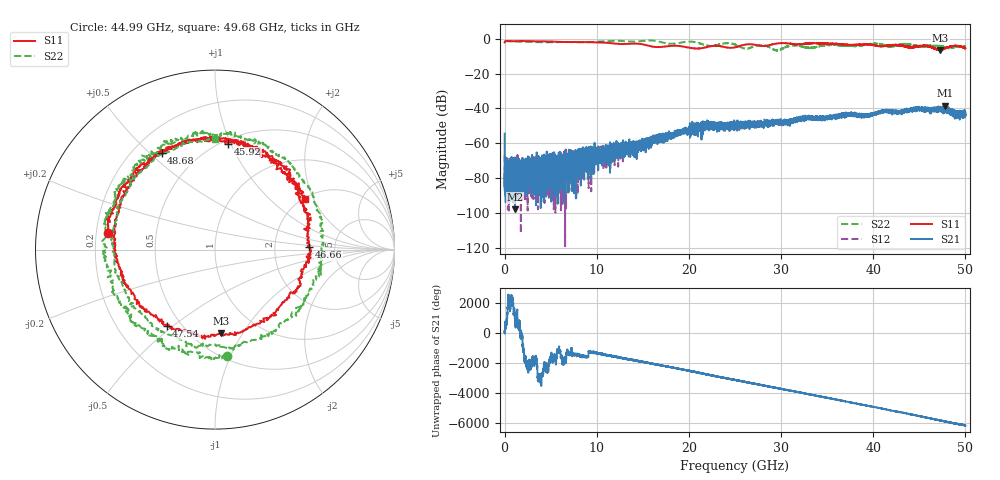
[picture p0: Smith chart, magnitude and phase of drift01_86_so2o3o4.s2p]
!Created with skrf (http://scikit-rf.org).
# Hz S RI R 50.0
!freq ReS11 ImS11 ReS21 ImS21 ReS12 ImS12 ReS22 ImS22
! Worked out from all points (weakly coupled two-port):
!   10001 points, 300 kHz to 50 GHz, reference 50 ohm
!   highest |S21| = -38.48 dB at 47.77 GHz (marker M1); lowest = -98.0 dB at 1.13 GHz (marker M2)
!   lowest |S11| = -6.6 dB at 47.28 GHz (marker M3), VSWR 2.76, Z = 33.9 - j40.6 ohm
!   |S11| at or under -10 dB: nowhere
!   |S22| runs from -6.8 to -1.0 dB; largest |S21 - S12| = 0.0036
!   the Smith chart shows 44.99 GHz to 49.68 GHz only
!   S11 on the Smith chart (normalised r, x): 44.99 GHz: 0.25, +0.07; 45.92 GHz: 0.54, +0.98; 46.66 GHz: 3.18, +0.12; 47.54 GHz: 0.42, -0.48; 48.68 GHz: 0.32, +0.54; 49.68 GHz: 2.05, +1.72
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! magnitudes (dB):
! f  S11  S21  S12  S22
! 300 kHz  -2.1  -54.5  -66.9  -1.3
! 255.3 MHz  -1.4  -76.9  -83.5  -1.4
! 1.13 GHz  -1.5  -98.0  -86.5  -1.6
! 6.37 GHz  -1.9  -70.7  -77.4  -1.9
! 8.335 GHz  -1.9  -70.5  -66.7  -2.1
! 16.67 GHz  -4.8  -56.3  -57.1  -1.6
! 21.78 GHz  -5.0  -50.0  -49.6  -3.7
! 25 GHz  -5.0  -48.9  -50.5  -3.4
! 28.07 GHz  -4.3  -50.0  -48.3  -3.9
! 29.55 GHz  -2.8  -48.0  -48.0  -6.7
! 31.29 GHz  -3.1  -47.6  -46.8  -3.9
! 33.34 GHz  -2.6  -45.4  -45.3  -5.2
! 41.67 GHz  -3.9  -41.6  -41.4  -4.5
! 44.99 GHz  -4.4  -41.0  -40.0  -4.5
! 45.92 GHz  -4.5  -40.9  -40.4  -4.3
! 46.66 GHz  -5.6  -40.0  -40.3  -3.8
! 47.28 GHz  -6.6  -41.5  -40.2  -4.3
! 47.54 GHz  -5.9  -40.4  -41.0  -4.5
! 47.77 GHz  -5.6  -38.5  -40.7  -4.8
! 48.68 GHz  -4.2  -42.7  -44.3  -5.0
! 49.68 GHz  -4.8  -44.4  -41.8  -4.2
! 50 GHz  -5.6  -43.7  -41.6  -4.2
